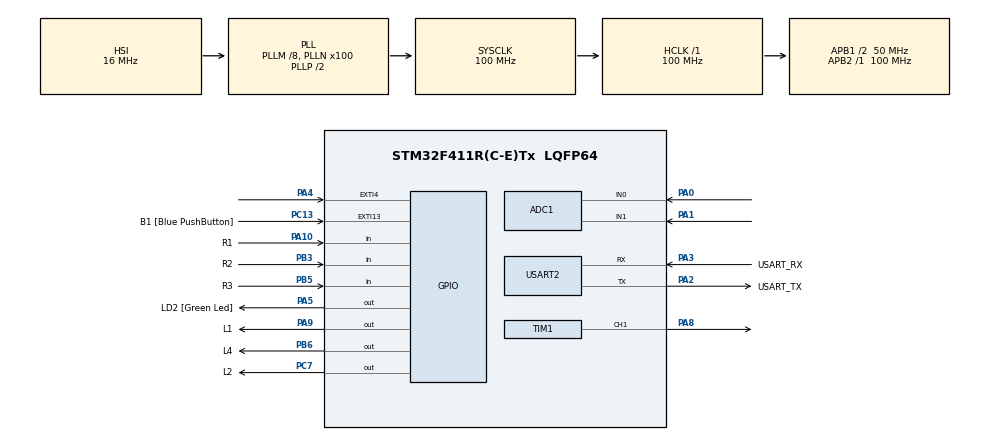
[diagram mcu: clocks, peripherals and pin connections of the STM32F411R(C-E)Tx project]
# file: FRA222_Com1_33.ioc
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ADC1.Channel-0\#ChannelRegularConversion=ADC_CHANNEL_0
ADC1.Channel-1\#ChannelRegularConversion=ADC_CHANNEL_0
ADC1.ContinuousConvMode=ENABLE
ADC1.DMAContinuousRequests=ENABLE
ADC1.DiscontinuousConvMode=DISABLE
ADC1.NbrOfConversion=2
ADC1.NbrOfConversionFlag=1
ADC1.Rank-0\#ChannelRegularConversion=1
ADC1.Rank-1\#ChannelRegularConversion=2
ADC1.SamplingTime-0\#ChannelRegularConversion=ADC_SAMPLETIME_3CYCLES
ADC1.SamplingTime-1\#ChannelRegularConversion=ADC_SAMPLETIME_3CYCLES
ADC1.ScanConvMode=ENABLE
ADC1.master=1
Dma.ADC1.0.Direction=DMA_PERIPH_TO_MEMORY
Dma.ADC1.0.FIFOMode=DMA_FIFOMODE_DISABLE
Dma.ADC1.0.Instance=DMA2_Stream0
Dma.ADC1.0.MemDataAlignment=DMA_MDATAALIGN_WORD
Dma.ADC1.0.MemInc=DMA_MINC_ENABLE
Dma.ADC1.0.Mode=DMA_CIRCULAR
Dma.ADC1.0.PeriphDataAlignment=DMA_PDATAALIGN_WORD
Dma.ADC1.0.PeriphInc=DMA_PINC_DISABLE
Dma.ADC1.0.Priority=DMA_PRIORITY_LOW
Dma.Request0=ADC1
Mcu.Family=STM32F4
Mcu.Name=STM32F411R(C-E)Tx
Mcu.Package=LQFP64
NVIC.DMA2_Stream0_IRQn=true\:0\:0\:false\:false\:true\:false\:true
NVIC.EXTI15_10_IRQn=true\:0\:0\:false\:false\:true\:true\:true
NVIC.EXTI4_IRQn=true\:0\:0\:false\:false\:true\:true\:true
NVIC.PriorityGroup=NVIC_PRIORITYGROUP_0
NVIC.TIM1_TRG_COM_TIM11_IRQn=true\:0\:0\:false\:false\:true\:true\:true
PA0-WKUP.Signal=ADCx_IN0
PA1.Signal=ADCx_IN1
PA10.GPIO_Label=R1
PA10.GPIO_PuPd=GPIO_PULLUP
PA10.Signal=GPIO_Input
PA13.GPIO_Label=TMS
PA13.Mode=Serial_Wire
PA13.Signal=SYS_JTMS-SWDIO
PA14.GPIO_Label=TCK
PA14.Mode=Serial_Wire
PA14.Signal=SYS_JTCK-SWCLK
PA2.GPIO_Label=USART_TX
PA2.Mode=Asynchronous
PA2.Signal=USART2_TX
PA3.GPIO_Label=USART_RX
PA3.Mode=Asynchronous
PA3.Signal=USART2_RX
PA4.GPIO_ModeDefaultEXTI=GPIO_MODE_IT_FALLING
PA4.GPIO_PuPd=GPIO_PULLUP
PA4.Signal=GPXTI4
PA5.GPIO_Label=LD2 [Green Led]
PA5.GPIO_ModeDefaultOutputPP=GPIO_MODE_OUTPUT_PP
PA5.GPIO_PuPd=GPIO_NOPULL
PA5.Signal=GPIO_Output
PA8.Signal=S_TIM1_CH1
PA9.GPIO_Label=L1
PA9.GPIO_ModeDefaultOutputPP=GPIO_MODE_OUTPUT_OD
PA9.GPIO_PuPd=GPIO_NOPULL
PA9.Signal=GPIO_Output
PB3.GPIO_Label=R2
PB3.GPIO_PuPd=GPIO_PULLUP
PB3.Signal=GPIO_Input
PB5.GPIO_Label=R3
PB5.GPIO_PuPd=GPIO_PULLUP
PB5.Signal=GPIO_Input
PB6.GPIO_Label=L4
PB6.GPIO_ModeDefaultOutputPP=GPIO_MODE_OUTPUT_OD
PB6.GPIO_PuPd=GPIO_NOPULL
PB6.Signal=GPIO_Output
PC13-ANTI_TAMP.GPIO_Label=B1 [Blue PushButton]
PC13-ANTI_TAMP.GPIO_ModeDefaultEXTI=GPIO_MODE_IT_FALLING
PC13-ANTI_TAMP.GPIO_PuPd=GPIO_PULLUP
PC13-ANTI_TAMP.Signal=GPXTI13
PC14-OSC32_IN.Mode=LSE-External-Oscillator
PC14-OSC32_IN.Signal=RCC_OSC32_IN
PC15-OSC32_OUT.Mode=LSE-External-Oscillator
PC15-OSC32_OUT.Signal=RCC_OSC32_OUT
PC7.GPIO_Label=L2
PC7.GPIO_ModeDefaultOutputPP=GPIO_MODE_OUTPUT_OD
PC7.GPIO_PuPd=GPIO_NOPULL
PC7.Signal=GPIO_Output
PH0\ -\ OSC_IN.Mode=HSE-External-Clock-Source
PH0\ -\ OSC_IN.Signal=RCC_OSC_IN
PH1\ -\ OSC_OUT.Mode=HSE-External-Clock-Source
PH1\ -\ OSC_OUT.Signal=RCC_OSC_OUT
ProjectManager.HeapSize=0x200
ProjectManager.StackSize=0x400
ProjectManager.TargetToolchain=STM32CubeIDE
RCC.48MHZClocksFreq_Value=50000000
RCC.AHBFreq_Value=100000000
RCC.APB1CLKDivider=RCC_HCLK_DIV2
RCC.APB1Freq_Value=50000000
RCC.APB1TimFreq_Value=100000000
RCC.APB2Freq_Value=100000000
RCC.APB2TimFreq_Value=100000000
RCC.CortexFreq_Value=100000000
RCC.FLatency-AdvancedSettings=FLASH_LATENCY_3
RCC.HCLKFreq_Value=100000000
RCC.HSE_VALUE=8000000
RCC.HSI_VALUE=16000000
RCC.PLLM=8
RCC.PLLN=100
RCC.SYSCLKFreq_VALUE=100000000
RCC.SYSCLKSource=RCC_SYSCLKSOURCE_PLLCLK
RCC.VCOOutputFreq_Value=200000000
SH.ADCx_IN0.0=ADC1_IN0,IN0
SH.ADCx_IN1.0=ADC1_IN1,IN1
SH.S_TIM1_CH1.0=TIM1_CH1,PWM Generation1 CH1
TIM1.Channel-PWM\ Generation1\ CH1=TIM_CHANNEL_1
TIM1.Period=6249
TIM1.Prescaler=100
TIM11.Prescaler=99
TIM3.Period=1999
USART2.VirtualMode=VM_ASYNC
VP_TIM11_VS_ClockSourceINT.Mode=Enable_Timer
VP_TIM1_VS_ClockSourceINT.Mode=Internal
VP_TIM3_VS_ClockSourceINT.Mode=Internal
board=NUCLEO-F411RE

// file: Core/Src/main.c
/* USER CODE BEGIN Header */
/**
 * test at home(alone with cat)
  ******************************************************************************
  * @file           : main.c
  * @brief          : Main program body
  ******************************************************************************
  * @attention
  *
  * Copyright (c) 2022 STMicroelectronics.
  * All rights reserved.
  *
  * This software is licensed under terms that can be found in the LICENSE file
  * in the root directory of this software component.
  * If no LICENSE file comes with this software, it is provided AS-IS.
  * time test
  ******************************************************************************
  */
/* USER CODE END Header */
#include "main.h"

ADC_HandleTypeDef hadc1;
DMA_HandleTypeDef hdma_adc1;

TIM_HandleTypeDef htim1;
TIM_HandleTypeDef htim3;
TIM_HandleTypeDef htim11;

UART_HandleTypeDef huart2;

/* USER CODE BEGIN PV */
int16_t _micro = 0; // micro TIM11
int16_t degreeSum[2] ={0}; //get degree from botton [0] is past [1] is present
uint16_t Buttonstate =0; //3*3
uint32_t timeStamp=0;//count time

uint16_t PWMOut = 1000;

typedef struct
{
	ADC_ChannelConfTypeDef Config;
	uint16_t data;
}ADCstructure;

ADCstructure ADCChannel[2];
/* USER CODE END PV */

void SystemClock_Config(void);
static void MX_GPIO_Init(void);
static void MX_USART2_UART_Init(void);
static void MX_TIM3_Init(void);
static void MX_DMA_Init(void);
static void MX_ADC1_Init(void);
static void MX_TIM11_Init(void);
static void MX_TIM1_Init(void);
/* USER CODE BEGIN PFP */
void ButtonMatrixRead();
void SumDegreeButton();
uint64_t micros();

/* USER CODE END PFP */

int main(void)
{

  /* MCU Configuration--------------------------------------------------------*/

  /* Reset of all peripherals, Initializes the Flash interface and the Systick. */
  HAL_Init();

  /* Configure the system clock */
  SystemClock_Config();

  /* Initialize all configured peripherals */
  MX_GPIO_Init();
  MX_USART2_UART_Init();
  MX_TIM3_Init();
  MX_DMA_Init();
  MX_ADC1_Init();
  MX_TIM11_Init();
  MX_TIM1_Init();
  /* USER CODE BEGIN 2 */

  HAL_TIM_Base_Start_IT(&htim11);

  /* USER CODE END 2 */

  /* Infinite loop */
  while (1)
  {

    /* USER CODE BEGIN 3 */
	  ButtonMatrixRead();
	  /*if (micros() - TimeOutputLoop > 500) {
	  			TimeOutputLoop = micros();
	  			// #001
	  			//TODO Implement Control
	  			__HAL_TIM_SET_COMPARE(&htim1, TIM_CHANNEL_1, PWMOut);

	  	}*/
  }
  /* USER CODE END 3 */
}

void SystemClock_Config(void)
{
  RCC_OscInitTypeDef RCC_OscInitStruct = {0};
  RCC_ClkInitTypeDef RCC_ClkInitStruct = {0};

  /** Configure the main internal regulator output voltage
  */
  __HAL_RCC_PWR_CLK_ENABLE();
  __HAL_PWR_VOLTAGESCALING_CONFIG(PWR_REGULATOR_VOLTAGE_SCALE1);
  /** Initializes the RCC Oscillators according to the specified parameters
  * in the RCC_OscInitTypeDef structure.
  */
  RCC_OscInitStruct.OscillatorType = RCC_OSCILLATORTYPE_HSI;
  RCC_OscInitStruct.HSIState = RCC_HSI_ON;
  RCC_OscInitStruct.HSICalibrationValue = RCC_HSICALIBRATION_DEFAULT;
  RCC_OscInitStruct.PLL.PLLState = RCC_PLL_ON;
  RCC_OscInitStruct.PLL.PLLSource = RCC_PLLSOURCE_HSI;
  RCC_OscInitStruct.PLL.PLLM = 8;
  RCC_OscInitStruct.PLL.PLLN = 100;
  RCC_OscInitStruct.PLL.PLLP = RCC_PLLP_DIV2;
  RCC_OscInitStruct.PLL.PLLQ = 4;
  if (HAL_RCC_OscConfig(&RCC_OscInitStruct) != HAL_OK)
  {
    Error_Handler();
  }
  /** Initializes the CPU, AHB and APB buses clocks
  */
  RCC_ClkInitStruct.ClockType = RCC_CLOCKTYPE_HCLK|RCC_CLOCKTYPE_SYSCLK
                              |RCC_CLOCKTYPE_PCLK1|RCC_CLOCKTYPE_PCLK2;
  RCC_ClkInitStruct.SYSCLKSource = RCC_SYSCLKSOURCE_PLLCLK;
  RCC_ClkInitStruct.AHBCLKDivider = RCC_SYSCLK_DIV1;
  RCC_ClkInitStruct.APB1CLKDivider = RCC_HCLK_DIV2;
  RCC_ClkInitStruct.APB2CLKDivider = RCC_HCLK_DIV1;

  if (HAL_RCC_ClockConfig(&RCC_ClkInitStruct, FLASH_LATENCY_3) != HAL_OK)
  {
    Error_Handler();
  }
}

static void MX_ADC1_Init(void)
{

  ADC_ChannelConfTypeDef sConfig = {0};

  /** Configure the global features of the ADC (Clock, Resolution, Data Alignment and number of conversion)
  */
  hadc1.Instance = ADC1;
  hadc1.Init.ClockPrescaler = ADC_CLOCK_SYNC_PCLK_DIV4;
  hadc1.Init.Resolution = ADC_RESOLUTION_12B;
  hadc1.Init.ScanConvMode = ENABLE;
  hadc1.Init.ContinuousConvMode = ENABLE;
  hadc1.Init.DiscontinuousConvMode = DISABLE;
  hadc1.Init.ExternalTrigConvEdge = ADC_EXTERNALTRIGCONVEDGE_NONE;
  hadc1.Init.ExternalTrigConv = ADC_SOFTWARE_START;
  hadc1.Init.DataAlign = ADC_DATAALIGN_RIGHT;
  hadc1.Init.NbrOfConversion = 2;
  hadc1.Init.DMAContinuousRequests = ENABLE;
  hadc1.Init.EOCSelection = ADC_EOC_SINGLE_CONV;
  if (HAL_ADC_Init(&hadc1) != HAL_OK)
  {
    Error_Handler();
  }
  /** Configure for the selected ADC regular channel its corresponding rank in the sequencer and its sample time.
  */
  sConfig.Channel = ADC_CHANNEL_0;
  sConfig.Rank = 1;
  sConfig.SamplingTime = ADC_SAMPLETIME_3CYCLES;
  if (HAL_ADC_ConfigChannel(&hadc1, &sConfig) != HAL_OK)
  {
    Error_Handler();
  }
  /** Configure for the selected ADC regular channel its corresponding rank in the sequencer and its sample time.
  */
  sConfig.Rank = 2;
  if (HAL_ADC_ConfigChannel(&hadc1, &sConfig) != HAL_OK)
  {
    Error_Handler();
  }

}

static void MX_TIM1_Init(void)
{

  TIM_ClockConfigTypeDef sClockSourceConfig = {0};
  TIM_MasterConfigTypeDef sMasterConfig = {0};
  TIM_OC_InitTypeDef sConfigOC = {0};
  TIM_BreakDeadTimeConfigTypeDef sBreakDeadTimeConfig = {0};

  htim1.Instance = TIM1;
  htim1.Init.Prescaler = 100;
  htim1.Init.CounterMode = TIM_COUNTERMODE_UP;
  htim1.Init.Period = 6249;
  htim1.Init.ClockDivision = TIM_CLOCKDIVISION_DIV1;
  htim1.Init.RepetitionCounter = 0;
  htim1.Init.AutoReloadPreload = TIM_AUTORELOAD_PRELOAD_DISABLE;
  if (HAL_TIM_Base_Init(&htim1) != HAL_OK)
  {
    Error_Handler();
  }
  sClockSourceConfig.ClockSource = TIM_CLOCKSOURCE_INTERNAL;
  if (HAL_TIM_ConfigClockSource(&htim1, &sClockSourceConfig) != HAL_OK)
  {
    Error_Handler();
  }
  if (HAL_TIM_PWM_Init(&htim1) != HAL_OK)
  {
    Error_Handler();
  }
  sMasterConfig.MasterOutputTrigger = TIM_TRGO_RESET;
  sMasterConfig.MasterSlaveMode = TIM_MASTERSLAVEMODE_DISABLE;
  if (HAL_TIMEx_MasterConfigSynchronization(&htim1, &sMasterConfig) != HAL_OK)
  {
    Error_Handler();
  }
  sConfigOC.OCMode = TIM_OCMODE_PWM1;
  sConfigOC.Pulse = 0;
  sConfigOC.OCPolarity = TIM_OCPOLARITY_HIGH;
  sConfigOC.OCNPolarity = TIM_OCNPOLARITY_HIGH;
  sConfigOC.OCFastMode = TIM_OCFAST_DISABLE;
  sConfigOC.OCIdleState = TIM_OCIDLESTATE_RESET;
  sConfigOC.OCNIdleState = TIM_OCNIDLESTATE_RESET;
  if (HAL_TIM_PWM_ConfigChannel(&htim1, &sConfigOC, TIM_CHANNEL_1) != HAL_OK)
  {
    Error_Handler();
  }
  sBreakDeadTimeConfig.OffStateRunMode = TIM_OSSR_DISABLE;
  sBreakDeadTimeConfig.OffStateIDLEMode = TIM_OSSI_DISABLE;
  sBreakDeadTimeConfig.LockLevel = TIM_LOCKLEVEL_OFF;
  sBreakDeadTimeConfig.DeadTime = 0;
  sBreakDeadTimeConfig.BreakState = TIM_BREAK_DISABLE;
  sBreakDeadTimeConfig.BreakPolarity = TIM_BREAKPOLARITY_HIGH;
  sBreakDeadTimeConfig.AutomaticOutput = TIM_AUTOMATICOUTPUT_DISABLE;
  if (HAL_TIMEx_ConfigBreakDeadTime(&htim1, &sBreakDeadTimeConfig) != HAL_OK)
  {
    Error_Handler();
  }
  HAL_TIM_MspPostInit(&htim1);

}

static void MX_TIM3_Init(void)
{

  TIM_ClockConfigTypeDef sClockSourceConfig = {0};
  TIM_MasterConfigTypeDef sMasterConfig = {0};

  htim3.Instance = TIM3;
  htim3.Init.Prescaler = 0;
  htim3.Init.CounterMode = TIM_COUNTERMODE_UP;
  htim3.Init.Period = 1999;
  htim3.Init.ClockDivision = TIM_CLOCKDIVISION_DIV1;
  htim3.Init.AutoReloadPreload = TIM_AUTORELOAD_PRELOAD_DISABLE;
  if (HAL_TIM_Base_Init(&htim3) != HAL_OK)
  {
    Error_Handler();
  }
  sClockSourceConfig.ClockSource = TIM_CLOCKSOURCE_INTERNAL;
  if (HAL_TIM_ConfigClockSource(&htim3, &sClockSourceConfig) != HAL_OK)
  {
    Error_Handler();
  }
  sMasterConfig.MasterOutputTrigger = TIM_TRGO_RESET;
  sMasterConfig.MasterSlaveMode = TIM_MASTERSLAVEMODE_DISABLE;
  if (HAL_TIMEx_MasterConfigSynchronization(&htim3, &sMasterConfig) != HAL_OK)
  {
    Error_Handler();
  }

}

static void MX_TIM11_Init(void)
{

  htim11.Instance = TIM11;
  htim11.Init.Prescaler = 99;
  htim11.Init.CounterMode = TIM_COUNTERMODE_UP;
  htim11.Init.Period = 65535;
  htim11.Init.ClockDivision = TIM_CLOCKDIVISION_DIV1;
  htim11.Init.AutoReloadPreload = TIM_AUTORELOAD_PRELOAD_DISABLE;
  if (HAL_TIM_Base_Init(&htim11) != HAL_OK)
  {
    Error_Handler();
  }

}

static void MX_USART2_UART_Init(void)
{

  huart2.Instance = USART2;
  huart2.Init.BaudRate = 115200;
  huart2.Init.WordLength = UART_WORDLENGTH_8B;
  huart2.Init.StopBits = UART_STOPBITS_1;
  huart2.Init.Parity = UART_PARITY_NONE;
  huart2.Init.Mode = UART_MODE_TX_RX;
  huart2.Init.HwFlowCtl = UART_HWCONTROL_NONE;
  huart2.Init.OverSampling = UART_OVERSAMPLING_16;
  if (HAL_UART_Init(&huart2) != HAL_OK)
  {
    Error_Handler();
  }

}

static void MX_DMA_Init(void)
{

  /* DMA controller clock enable */
  __HAL_RCC_DMA2_CLK_ENABLE();

  /* DMA interrupt init */
  /* DMA2_Stream0_IRQn interrupt configuration */
  HAL_NVIC_SetPriority(DMA2_Stream0_IRQn, 0, 0);
  HAL_NVIC_EnableIRQ(DMA2_Stream0_IRQn);

}

static void MX_GPIO_Init(void)
{
  GPIO_InitTypeDef GPIO_InitStruct = {0};

  /* GPIO Ports Clock Enable */
  __HAL_RCC_GPIOC_CLK_ENABLE();
  __HAL_RCC_GPIOH_CLK_ENABLE();
  __HAL_RCC_GPIOA_CLK_ENABLE();
  __HAL_RCC_GPIOB_CLK_ENABLE();

  /*Configure GPIO pin Output Level */
  HAL_GPIO_WritePin(GPIOA, LD2_Pin|L1_Pin, GPIO_PIN_RESET);

  /*Configure GPIO pin Output Level */
  HAL_GPIO_WritePin(L2_GPIO_Port, L2_Pin, GPIO_PIN_RESET);

  /*Configure GPIO pin Output Level */
  HAL_GPIO_WritePin(L4_GPIO_Port, L4_Pin, GPIO_PIN_RESET);

  /*Configure GPIO pin : B1_Pin */
  GPIO_InitStruct.Pin = B1_Pin;
  GPIO_InitStruct.Mode = GPIO_MODE_IT_FALLING;
  GPIO_InitStruct.Pull = GPIO_PULLUP;
  HAL_GPIO_Init(B1_GPIO_Port, &GPIO_InitStruct);

  /*Configure GPIO pin : PA4 */
  GPIO_InitStruct.Pin = GPIO_PIN_4;
  GPIO_InitStruct.Mode = GPIO_MODE_IT_FALLING;
  GPIO_InitStruct.Pull = GPIO_PULLUP;
  HAL_GPIO_Init(GPIOA, &GPIO_InitStruct);

  /*Configure GPIO pin : LD2_Pin */
  GPIO_InitStruct.Pin = LD2_Pin;
  GPIO_InitStruct.Mode = GPIO_MODE_OUTPUT_PP;
  GPIO_InitStruct.Pull = GPIO_NOPULL;
  GPIO_InitStruct.Speed = GPIO_SPEED_FREQ_LOW;
  HAL_GPIO_Init(LD2_GPIO_Port, &GPIO_InitStruct);

  /*Configure GPIO pin : L2_Pin */
  GPIO_InitStruct.Pin = L2_Pin;
  GPIO_InitStruct.Mode = GPIO_MODE_OUTPUT_OD;
  GPIO_InitStruct.Pull = GPIO_NOPULL;
  GPIO_InitStruct.Speed = GPIO_SPEED_FREQ_LOW;
  HAL_GPIO_Init(L2_GPIO_Port, &GPIO_InitStruct);

  /*Configure GPIO pin : L1_Pin */
  GPIO_InitStruct.Pin = L1_Pin;
  GPIO_InitStruct.Mode = GPIO_MODE_OUTPUT_OD;
  GPIO_InitStruct.Pull = GPIO_NOPULL;
  GPIO_InitStruct.Speed = GPIO_SPEED_FREQ_LOW;
  HAL_GPIO_Init(L1_GPIO_Port, &GPIO_InitStruct);

  /*Configure GPIO pin : R1_Pin */
  GPIO_InitStruct.Pin = R1_Pin;
  GPIO_InitStruct.Mode = GPIO_MODE_INPUT;
  GPIO_InitStruct.Pull = GPIO_PULLUP;
  HAL_GPIO_Init(R1_GPIO_Port, &GPIO_InitStruct);

  /*Configure GPIO pins : R2_Pin R3_Pin */
  GPIO_InitStruct.Pin = R2_Pin|R3_Pin;
  GPIO_InitStruct.Mode = GPIO_MODE_INPUT;
  GPIO_InitStruct.Pull = GPIO_PULLUP;
  HAL_GPIO_Init(GPIOB, &GPIO_InitStruct);

  /*Configure GPIO pin : L4_Pin */
  GPIO_InitStruct.Pin = L4_Pin;
  GPIO_InitStruct.Mode = GPIO_MODE_OUTPUT_OD;
  GPIO_InitStruct.Pull = GPIO_NOPULL;
  GPIO_InitStruct.Speed = GPIO_SPEED_FREQ_LOW;
  HAL_GPIO_Init(L4_GPIO_Port, &GPIO_InitStruct);

  /* EXTI interrupt init*/
  HAL_NVIC_SetPriority(EXTI4_IRQn, 0, 0);
  HAL_NVIC_EnableIRQ(EXTI4_IRQn);

  HAL_NVIC_SetPriority(EXTI15_10_IRQn, 0, 0);
  HAL_NVIC_EnableIRQ(EXTI15_10_IRQn);

}

/* USER CODE BEGIN 4 */

// 5. TIM
void HAL_TIM_PeriodElapsedCallback(TIM_HandleTypeDef *htim) {
	if (htim == &htim11) {
		_micro += 65535;
	}
}

uint64_t micros() {
	return _micro + htim11.Instance->CNT;
}
//END 5.

//3.INT
void HAL_GPIO_EXTI_Callback(uint16_t GPIO_Pin)
{
	if(GPIO_Pin == GPIO_PIN_4)
	{
		HAL_GPIO_TogglePin(LD2_GPIO_Port, LD2_Pin);//LD2 instead motor for now

	}
}
//For 1. detect Matrix Button
//For R use PA9_R1,PC7_R2,PB6_R3
//L use PA10_L1,PB3_L2,PB5_L4
GPIO_TypeDef* ButtonMatrixPortR[3] = {R1_GPIO_Port,R2_GPIO_Port,R3_GPIO_Port};
uint16_t ButtonMatrixPinR[3] = {R1_Pin,R2_Pin,R3_Pin};

GPIO_TypeDef* ButtonMatrixPortL[3] = {L1_GPIO_Port,L2_GPIO_Port,L4_GPIO_Port};
uint16_t ButtonMatrixPinL[3] = {L1_Pin,L2_Pin,L4_Pin};

//detect button 3*3
void ButtonMatrixRead(){
	//static uint32_t timeStamp=0;
	static uint8_t CurrentL=0;
	//call reader every 100 ms
	if(micros() - timeStamp >= 100)
	{
		timeStamp = micros();

		for(int i=0 ;i<3;i++)
		{
			if(HAL_GPIO_ReadPin(ButtonMatrixPortR[i], ButtonMatrixPinR[i])==GPIO_PIN_RESET) // Button press
			{
				//set bit i to 1
				//i calculate form i(R) and CurrentL to set bit that relate to 3*3 button
				Buttonstate |= 1 << (i + (CurrentL*3));
				SumDegreeButton();
			}
			else
			{
				//set bit i to 0
				Buttonstate &= ~(1<< (i + (CurrentL*3)));
			}
		}
		//set currentL to Hi-z (Open drain)
		HAL_GPIO_WritePin(ButtonMatrixPortL[CurrentL], ButtonMatrixPinL[CurrentL], GPIO_PIN_SET);
		uint8_t nextL = (CurrentL + 1) % 3;
		//set NextL	to Low
		HAL_GPIO_WritePin(ButtonMatrixPortL[nextL], ButtonMatrixPinL[nextL], GPIO_PIN_RESET);
		CurrentL = nextL;

	}

}

//1. GPIO button to Degree
void SumDegreeButton(){
	if(micros() - timeStamp >= 20){
		if(Buttonstate == 1){
			degreeSum[1] += 100;
		}
		if(Buttonstate == 2){
			degreeSum[1] += 10;
		}
		if(Buttonstate == 4){
			degreeSum[1] += 1;
		}
		if(Buttonstate == 8){
			degreeSum[1] -= 100;
		}
		if(Buttonstate == 16){
			degreeSum[1] -= 10;
		}
		if(Buttonstate == 32){
			degreeSum[1] -= 1;
		}
		if(Buttonstate == 64){
			degreeSum[0] += degreeSum[1];
				// submit sum to motor(QEI not finisd)
		}
		if(Buttonstate == 128){
			degreeSum[1] = 0;
		}
		if(Buttonstate == 256){
			degreeSum[1] = degreeSum[0];
		}
	}

}

/* USER CODE END 4 */

void Error_Handler(void)
{
  __disable_irq();
  while (1)
  {
  }
}
